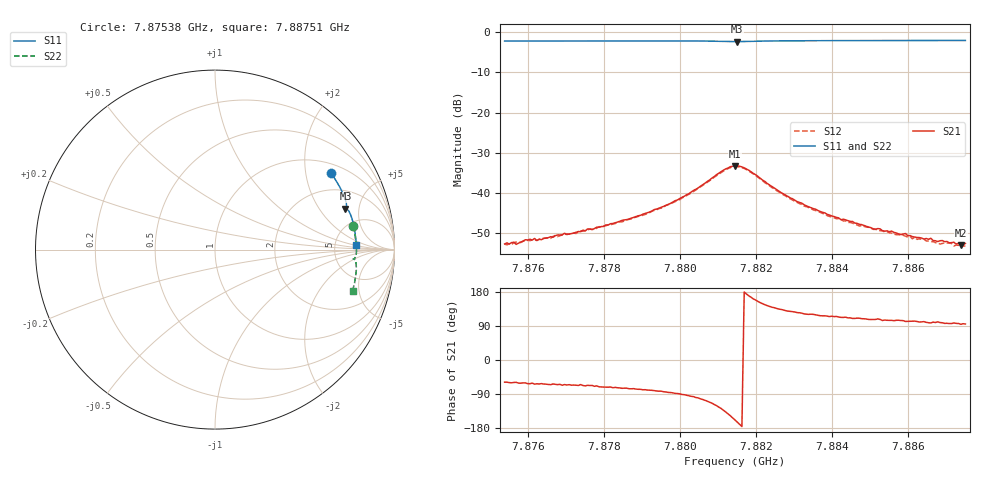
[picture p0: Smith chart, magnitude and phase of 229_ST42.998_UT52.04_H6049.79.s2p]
#  HZ  S  DB  R  50.00
! Rohde & Schwarz Vector Network Analyzer
! Rohde-Schwarz,ZNB20-2Port,1311601062101988,3.16
! Created: UTC 1/12/2023, 6:46:27 PM
! freq[Hz]  db:S11  ang:S11  db:S21  ang:S21  db:S12  ang:S12  db:S22  ang:S22
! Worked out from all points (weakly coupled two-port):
!   201 points, 7.87538 GHz to 7.88751 GHz, reference 50 ohm
!   highest |S21| = -33.26 dB at 7.88145 GHz (marker M1); lowest = -52.9 dB at 7.88739 GHz (marker M2)
!   lowest |S11| = -2.4 dB at 7.88151 GHz (marker M3), VSWR 7.40, Z = 165 + j180 ohm
!   |S11| at or under -10 dB: nowhere
!   |S22| runs from -2.3 to -1.9 dB; largest |S21 - S12| = 0.0013
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7.875384e9  -2.23 33.5  -52.70 -58.5  -52.72 -62.3  -2.16 9.7
7.875566e9  -2.23 33.0  -52.35 -60.2  -52.89 -62.2  -2.15 9.4
7.875626e9  -2.22 32.8  -52.25 -59.2  -52.33 -62.9  -2.15 9.2
7.875687e9  -2.22 32.7  -52.79 -58.8  -52.22 -63.4  -2.14 9.0
7.875929e9  -2.22 32.0  -51.64 -60.4  -51.91 -64.1  -2.14 8.5
7.876172e9  -2.21 31.3  -51.33 -63.7  -51.76 -65.5  -2.14 7.9
7.876233e9  -2.21 31.2  -51.83 -62.8  -51.77 -64.4  -2.13 7.8
7.877446e9  -2.20 27.9  -49.25 -67.3  -49.54 -70.0  -2.10 5.0
7.878477e9  -2.18 25.0  -46.82 -74.7  -47.19 -77.5  -2.08 2.6
7.879447e9  -2.18 22.4  -43.79 -82.3  -43.87 -85.8  -2.07 0.3
7.879993e9  -2.19 20.8  -41.39 -89.3  -41.65 -93.1  -2.07 -1.1
7.881146e9  -2.31 17.7  -34.34 -132.9  -34.55 -135.9  -2.20 -3.8
7.881449e9  -2.36 17.5  -33.26 -158.3  -33.47 -161.5  -2.25 -3.9
7.88151e9  -2.36 17.5  -33.28 -164.1  -33.48 -167.3  -2.25 -3.9
7.881752e9  -2.32 17.3  -34.06 174.1  -34.22 171.2  -2.21 -3.9
7.882662e9  -2.17 15.0  -39.92 133.4  -40.12 130.2  -2.05 -5.7
7.883511e9  -2.13 12.6  -43.90 120.4  -44.22 116.9  -2.00 -7.7
7.884239e9  -2.11 10.6  -46.67 112.5  -46.57 109.5  -1.98 -9.5
7.885513e9  -2.10 7.2  -49.64 104.8  -49.91 102.0  -1.95 -12.3
7.886847e9  -2.08 3.7  -51.88 98.9  -52.72 96.1  -1.94 -15.2
7.887393e9  -2.08 2.3  -52.93 94.3  -52.81 94.2  -1.93 -16.4
7.887514e9  -2.08 2.0  -52.55 95.0  -53.20 91.8  -1.94 -16.6
